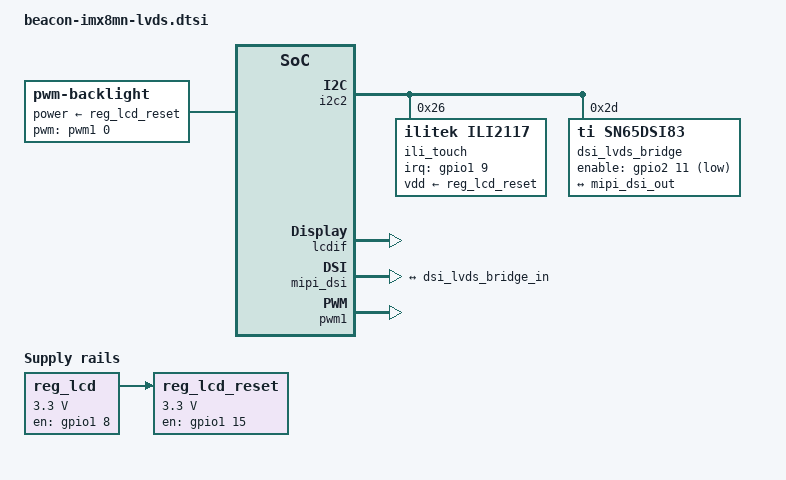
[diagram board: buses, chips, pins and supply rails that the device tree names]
// SPDX-License-Identifier: (GPL-2.0 OR MIT)
/*
 * Copyright 2020 Beacon EmbeddedWorks
 */
 
/ {
	backlight: backlight-lvds {
		compatible = "pwm-backlight";
		pwms = <&pwm1 0 20000>;
		brightness-levels = <0 4 8 16 32 64 128 255>;
		default-brightness-level = <6>;
		power-supply = <&reg_lcd_reset>;
	};

	reg_lcd: regulator-lcd {
		pinctrl-names = "default";
		pinctrl-0 = <&pinctrl_lcd_reg>;
		compatible = "regulator-fixed";
		regulator-name = "lcd_panel_pwr";
		regulator-min-microvolt = <3300000>;
		regulator-max-microvolt = <3300000>;
		gpio = <&gpio1 8 GPIO_ACTIVE_HIGH>;
		enable-active-high;
	};

	reg_lcd_reset: regulator-lcd-reset {
		pinctrl-names = "default";
		pinctrl-0 = <&pinctrl_lcd_rst>;
		compatible = "regulator-fixed";
		regulator-name = "nLCD_RESET";
		regulator-min-microvolt = <3300000>;
		regulator-max-microvolt = <3300000>;
		gpio = <&gpio1 15 GPIO_ACTIVE_HIGH>;
		enable-active-high;
		vin-supply = <&reg_lcd>;
	};
};

&i2c2 {
	ili_touch: ilitouch@26 {
		compatible = "ilitek,ili2117";
		reg = <0x26>;
		pinctrl-names = "default";
		pinctrl-0 = <&pinctrl_touchscreen>;
		vdd-supply = <&reg_lcd_reset>;
		interrupts-extended = <&gpio1 9 IRQ_TYPE_EDGE_RISING>;
	};

	dsi_lvds_bridge: sn65dsi83@2d {
		compatible = "ti,sn65dsi83";
		reg = <0x2d>;
		ti,dsi-lanes = <4>;
		ti,lvds-format = <2>;
		ti,lvds-bpp = <24>;
		ti,width-mm = <154>;
		ti,height-mm = <87>;
		enable-gpios = <&gpio2 11 GPIO_ACTIVE_LOW>;
		pinctrl-names = "default";
		pinctrl-0 = <&pinctrl_lvds>;
		status = "okay";

		display-timings {
			lvds {
				clock-frequency = <30000000>;
				hactive = <800>;
				vactive = <480>;
				hback-porch = <40>;
				hfront-porch = <40>;
				vback-porch = <29>;
				vfront-porch = <13>;
				hsync-len = <48>;
				vsync-len = <3>;
				hsync-active = <1>;
				vsync-active = <3>;
				de-active = <1>;
				pixelclk-active = <0>;
			};
		};

		port {
			dsi_lvds_bridge_in: endpoint {
				remote-endpoint = <&mipi_dsi_out>;
			};
		};
	};
};

&lcdif {
	status = "okay";
};

&mipi_dsi {
	status = "okay";

	port@1 {
		mipi_dsi_out: endpoint {
			remote-endpoint = <&dsi_lvds_bridge_in>;
		};
	};
};

&pwm1 {
	status = "okay";
	pinctrl-names = "default";
	pinctrl-0 = <&pinctrl_pwm1>;
};

&iomuxc {

	pinctrl_lcd_reg: lcd_reggrp {
		fsl,pins = <
			MX8MN_IOMUXC_GPIO1_IO08_GPIO1_IO8		0x16
		>;
	};

	pinctrl_lcd_rst: lcd_rstgrp {
		fsl,pins = <
			MX8MN_IOMUXC_GPIO1_IO15_GPIO1_IO15		0x16
		>;
	};

	pinctrl_lvds: lvdsgrp {
		fsl,pins = <
			MX8MN_IOMUXC_SD1_STROBE_GPIO2_IO11              0x16
		>;
	};

	pinctrl_pwm1: pwm1grp {
		fsl,pins = <
			MX8MN_IOMUXC_GPIO1_IO01_PWM1_OUT                0x06
		>;
	};

	pinctrl_touchscreen: touchscreengrp {
		fsl,pins = <
			MX8MN_IOMUXC_GPIO1_IO09_GPIO1_IO9		0x119
		>;
	};

};
